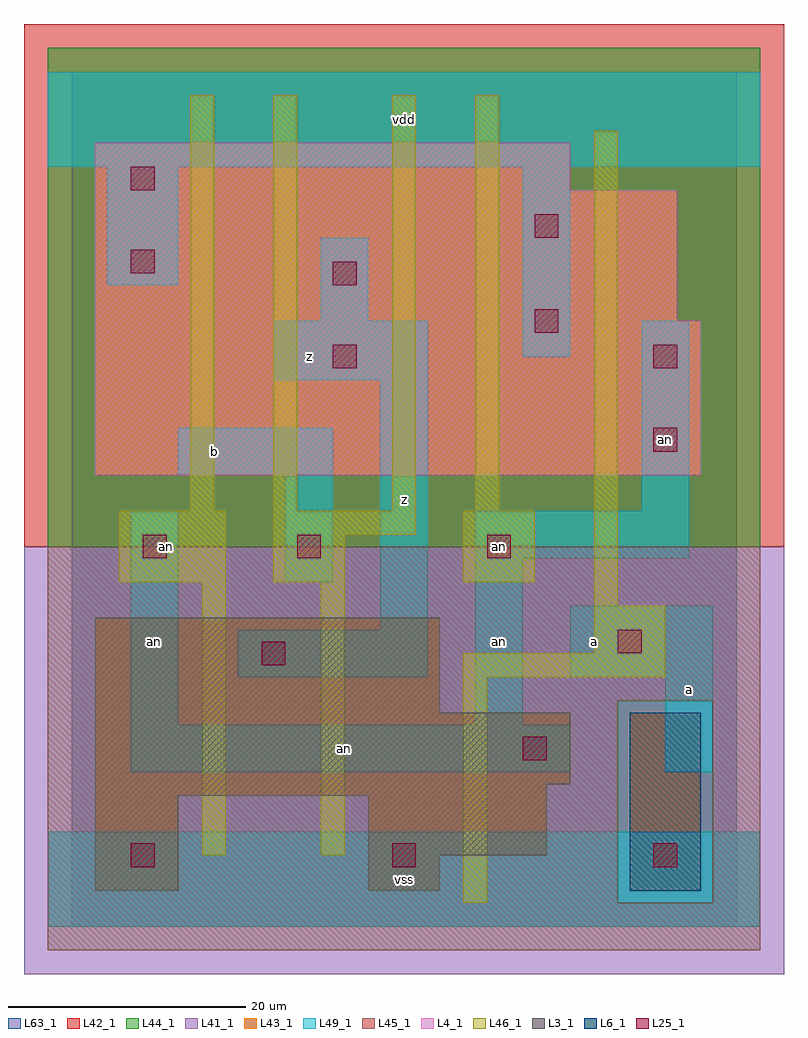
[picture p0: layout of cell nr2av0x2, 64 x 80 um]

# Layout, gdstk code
import gdstk
lib = gdstk.Library(unit=1e-6, precision=1e-09)
def R(c, l, rs):  # rectangles x0, y0, x1, y1
    for r in rs: c.add(gdstk.rectangle(r[:2], r[2:], *l))
def A(c, l, x, y, w, h, nx, ny, dx, dy):  # array of equal rectangles
    R(c, l, [(x+i*dx, y+j*dy, x+i*dx+w, y+j*dy+h) for i in range(nx) for j in range(ny)])
L3_1 = (3, 1)
L4_1 = (4, 1)
L6_1 = (6, 1)
L25_1 = (25, 1)
L41_1 = (41, 1)
L42_1 = (42, 1)
L43_1 = (43, 1)
L44_1 = (44, 1)
L45_1 = (45, 1)
L46_1 = (46, 1)
L49_1 = (49, 1)
L63_1 = (63, 1)

nr2av0x2 = lib.new_cell('nr2av0x2')
R(nr2av0x2, L3_1, [(2,3,9,11), (25,3,31,6), (25,6,40,11), (2,11,40,12), (2,12,42,18), (2,18,31,26)])
R(nr2av0x2, L4_1, [(2,38,53,51), (2,51,51,62), (2,62,42,66)])
R(nr2av0x2, L6_1, [(47,3,53,18), (47,3,53,18)])
A(nr2av0x2, L25_1, 5, 5, 2, 2, 3, 1, 22, 0)
R(nr2av0x2, L25_1, [(38,14,40,16), (16,22,18,24), (46,23,48,25), (6,31,8,33), (19,31,21,33), (35,31,37,33), (49,40,51,42), (22,47,24,49), (49,47,51,49), (39,50,41,52), (22,54,24,56), (5,55,7,57), (39,58,41,60), (5,62,7,64)])
R(nr2av0x2, L41_1, [(-4,-4,60,32)])
R(nr2av0x2, L42_1, [(-4,32,60,76)])
R(nr2av0x2, L43_1, [(2,3,9,11), (25,3,31,6), (47,3,53,18), (25,6,40,11), (2,11,40,12), (2,12,42,18), (2,18,31,26), (2,38,53,51), (2,51,51,62), (2,62,42,66)])
R(nr2av0x2, L44_1, [(46,2,54,19), (-2,32,58,74)])
R(nr2av0x2, L45_1, [(-2,-2,58,2), (-2,2,46,19), (54,2,58,19), (-2,19,58,32)])
R(nr2av0x2, L46_1, [(33,2,35,21), (11,6,13,29), (21,6,23,29), (33,21,50,23), (44,23,50,27), (44,27,46,67), (4,29,13,35), (17,29,23,33), (33,29,39,35), (17,33,29,35), (10,35,12,70), (17,35,19,70), (27,35,29,70), (34,35,36,70)])
R(nr2av0x2, L49_1, [(-2,0,58,8), (5,13,42,17), (50,13,54,21), (5,17,9,35), (34,17,38,31), (14,21,30,25), (42,21,54,27), (26,25,30,46), (18,29,22,38), (34,31,52,35), (48,35,52,51), (9,38,22,42), (17,46,30,51), (38,48,42,64), (21,51,25,58), (3,54,9,64), (-2,64,58,72)])
R(nr2av0x2, L63_1, [(0,0,56,72)])
nr2av0x2.add(gdstk.Label('an', (8,32), layer=49, texttype=1))
nr2av0x2.add(gdstk.Label('an', (36,32), layer=49, texttype=1))
nr2av0x2.add(gdstk.Label('an', (7,24), layer=49, texttype=1))
nr2av0x2.add(gdstk.Label('b', (12,40), layer=49, texttype=1))
nr2av0x2.add(gdstk.Label('z', (20,48), layer=49, texttype=1))
nr2av0x2.add(gdstk.Label('vss', (28,4), layer=49, texttype=1))
nr2av0x2.add(gdstk.Label('an', (23,15), layer=49, texttype=1))
nr2av0x2.add(gdstk.Label('an', (36,24), layer=49, texttype=1))
nr2av0x2.add(gdstk.Label('z', (28,36), layer=49, texttype=1))
nr2av0x2.add(gdstk.Label('vdd', (28,68), layer=49, texttype=1))
nr2av0x2.add(gdstk.Label('a', (52,20), layer=49, texttype=1))
nr2av0x2.add(gdstk.Label('a', (44,24), layer=49, texttype=1))
nr2av0x2.add(gdstk.Label('an', (50,41), layer=49, texttype=1))

lib.write_gds('nr2av0x2.gds')
